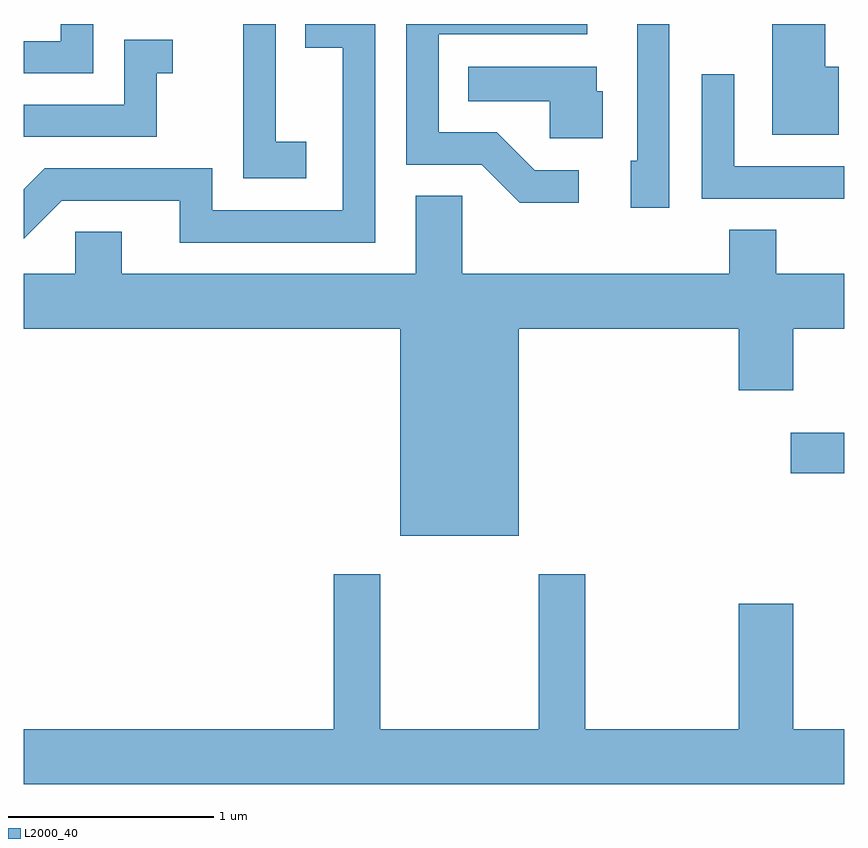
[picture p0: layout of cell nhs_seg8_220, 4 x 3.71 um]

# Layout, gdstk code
import gdstk
lib = gdstk.Library(unit=1e-6, precision=1e-09)
def R(c, l, rs):  # rectangles x0, y0, x1, y1
    for r in rs: c.add(gdstk.rectangle(r[:2], r[2:], *l))
def P(c, l, *ps):  # polygons
    for p in ps: c.add(gdstk.Polygon(p, *l))
L2000_40 = (2000, 40)

nhs_seg8_220 = lib.new_cell('nhs_seg8_220')
R(nhs_seg8_220, L2000_40, [(195.351,1840.151,195.611,1840.349)])
P(nhs_seg8_220, L2000_40, [(192.989,1841.769),(192.839,1841.769),(192.839,1842.342),(192.681,1842.342),(192.681,1841.591),(192.989,1841.591)],
  [(194.318,1841.629),(194.102,1841.629),(193.917,1841.814),(193.634,1841.814),(193.634,1842.291),(194.358,1842.291),(194.358,1842.342),(193.476,1842.342),(193.476,1841.656),(193.844,1841.656),(194.029,1841.471),(194.318,1841.471)],
  [(195.584,1842.134),(195.519,1842.134),(195.519,1842.342),(195.261,1842.342),(195.261,1841.801),(195.584,1841.801)],
  [(193.324,1842.342),(192.983,1842.342),(192.983,1842.226),(193.166,1842.226),(193.166,1841.434),(192.529,1841.434),(192.529,1841.639),(191.714,1841.639),(191.611,1841.536),(191.611,1841.295),(191.797,1841.481),(192.371,1841.481),(192.371,1841.276),(193.324,1841.276)],
  [(194.759,1842.342),(194.601,1842.342),(194.601,1841.674),(194.571,1841.674),(194.571,1841.446),(194.759,1841.446)],
  [(191.949,1842.342),(191.791,1842.342),(191.791,1842.259),(191.611,1842.259),(191.611,1842.101),(191.949,1842.101)],
  [(192.259,1842.101),(192.338,1842.101),(192.338,1842.264),(192.101,1842.264),(192.101,1841.949),(191.611,1841.949),(191.611,1841.791),(192.259,1841.791)],
  [(194.434,1842.014),(194.404,1842.014),(194.404,1842.134),(193.778,1842.134),(193.778,1841.966),(194.176,1841.966),(194.176,1841.786),(194.434,1841.786)],
  [(195.611,1841.649),(195.074,1841.649),(195.074,1842.098),(194.916,1842.098),(194.916,1841.491),(195.611,1841.491)],
  [(194.024,1840.856),(195.096,1840.856),(195.096,1840.556),(195.364,1840.556),(195.364,1840.856),(195.611,1840.856),(195.611,1841.124),(195.279,1841.124),(195.279,1841.339),(195.051,1841.339),(195.051,1841.124),(193.749,1841.124),(193.749,1841.504),(193.521,1841.504),(193.521,1841.124),(192.089,1841.124),(192.089,1841.329),(191.861,1841.329),(191.861,1841.124),(191.611,1841.124),(191.611,1840.856),(193.446,1840.856),(193.446,1839.846),(194.024,1839.846)],
  [(195.611,1838.904),(195.364,1838.904),(195.364,1839.514),(195.096,1839.514),(195.096,1838.904),(194.349,1838.904),(194.349,1839.659),(194.121,1839.659),(194.121,1838.904),(193.349,1838.904),(193.349,1839.659),(193.121,1839.659),(193.121,1838.904),(191.611,1838.904),(191.611,1838.636),(195.611,1838.636)])

lib.write_gds('nhs_seg8_220.gds')
